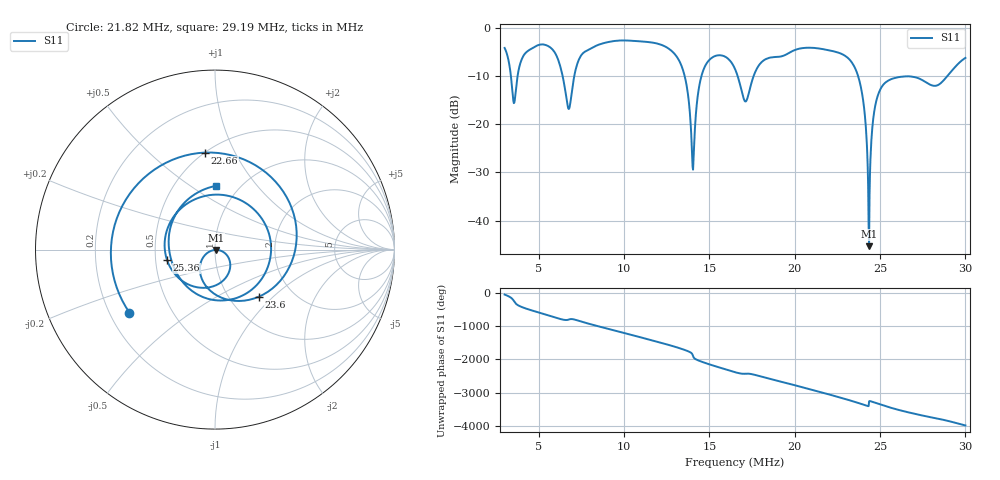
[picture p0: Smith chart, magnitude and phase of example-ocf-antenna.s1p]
! Example measurement of vna-r, shown by the browser viewer when it starts.
! An off-centre-fed (OCF) wire antenna for HF, 3-30 MHz, 1001 points, measured
! with a NanoVNA-F and host calibrated by vna-r. The same antenna is discussed in
! the manual, chapter 6 (measurement recipes). S11 only: an antenna has one port.
# Hz S RI R 50
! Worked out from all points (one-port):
!   1001 points, 3 MHz to 30 MHz, reference 50 ohm
!   lowest |S11| = -45.3 dB at 24.36 MHz (marker M1), VSWR 1.01, Z = 50.5 - j0.184 ohm
!   |S11| at or under -10 dB: 13.55 MHz to 14.54 MHz (988.3 kHz wide, 7.04 % of centre); 16.65 MHz to 17.59 MHz (942.8 kHz wide, 5.51 % of centre); 23.71 MHz to 28.95 MHz (5.238 MHz wide, 19.9 % of centre)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
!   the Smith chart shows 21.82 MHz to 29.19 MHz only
!   S11 on the Smith chart (normalised r, x): 21.82 MHz: 0.28, -0.30; 22.66 MHz: 0.50, +0.77; 23.6 MHz: 1.36, -0.82; 25.36 MHz: 0.57, -0.07; 29.19 MHz: 0.79, +0.64
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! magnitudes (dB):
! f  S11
! 3 MHz  -4.2
! 3.54 MHz  -15.6
! 4.053 MHz  -6.2
! 4.917 MHz  -3.7
! 6.375 MHz  -9.6
! 6.78 MHz  -16.8
! 7.536 MHz  -5.5
! 9.75 MHz  -2.7
! 13.12 MHz  -6.2
! 13.64 MHz  -11.5
! 14.04 MHz  -29.4
! 14.39 MHz  -12.3
! 14.8 MHz  -7.6
! 16.5 MHz  -8.6
! 17.12 MHz  -15.3
! 18.04 MHz  -7.2
! 19.88 MHz  -4.8
! 21.82 MHz  -4.6
! 22.66 MHz  -5.3
! 23.25 MHz  -6.8
! 23.6 MHz  -8.9
! 24.03 MHz  -15.7
! 24.36 MHz  -45.3
! 24.71 MHz  -16.4
! 25.36 MHz  -11.3
! 26.62 MHz  -10.1
! 29.19 MHz  -9.0
! 30 MHz  -6.3
